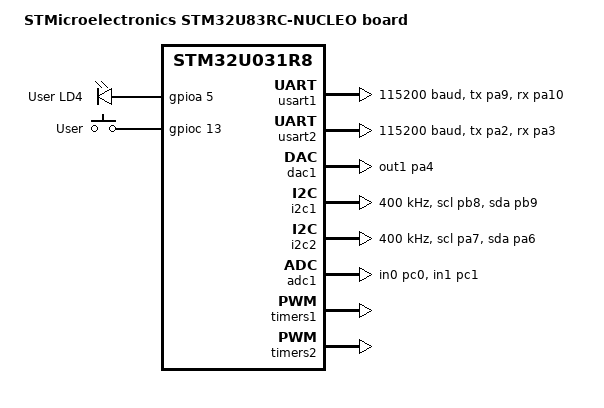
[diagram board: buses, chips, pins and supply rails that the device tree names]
/*
 * Copyright (c) 2024 STMicroelectronics
 *
 * SPDX-License-Identifier: Apache-2.0
 */

/dts-v1/;
#include <st/u0/stm32u031X8.dtsi>
#include <st/u0/stm32u031r8tx-pinctrl.dtsi>
#include "arduino_r3_connector.dtsi"
#include <zephyr/dt-bindings/input/input-event-codes.h>

/ {
	model = "STMicroelectronics STM32U83RC-NUCLEO board";
	compatible = "st,stm32u031r8-nucleo";

	#address-cells = <1>;
	#size-cells = <1>;

	chosen {
		zephyr,console = &usart2;
		zephyr,shell-uart = &usart2;
		zephyr,sram = &sram0;
		zephyr,flash = &flash0;
	};

	leds: leds {
		compatible = "gpio-leds";
		green_led_1: led_1 {
			gpios = <&gpioa 5 GPIO_ACTIVE_HIGH>;
			label = "User LD4";
		};
	};

	gpio_keys {
		compatible = "gpio-keys";
		user_button: button {
			label = "User";
			gpios = <&gpioc 13 GPIO_ACTIVE_HIGH>;
			zephyr,code = <INPUT_KEY_0>;
		};
	};

	aliases {
		led0 = &green_led_1;
		sw0 = &user_button;
	};
};

&usart1 {
	pinctrl-0 = <&usart1_tx_pa9 &usart1_rx_pa10>;
	pinctrl-names = "default";
	current-speed = <115200>;
	status = "okay";
};

&usart2 {
	pinctrl-0 = <&usart2_tx_pa2 &usart2_rx_pa3>;
	pinctrl-names = "default";
	current-speed = <115200>;
	status = "okay";
};

&clk_hsi {
	status = "okay";
};

&pll {
	div-m = <1>;
	mul-n = <6>;
	div-p = <2>;
	div-q = <2>;
	div-r = <2>;
	clocks = <&clk_hsi>;
	status = "okay";
};

&rcc {
	clocks = <&pll>;
	clock-frequency = <DT_FREQ_M(48)>;
	ahb-prescaler = <1>;
	apb1-prescaler = <1>;
};

&dac1 {
	status = "okay";
	pinctrl-0 = <&dac1_out1_pa4>;
	pinctrl-names = "default";
};

&i2c1 {
	pinctrl-0 = <&i2c1_scl_pb8 &i2c1_sda_pb9>;
	pinctrl-names = "default";
	status = "okay";
	clock-frequency = <I2C_BITRATE_FAST>;
};

&i2c2 {
	pinctrl-0 = <&i2c2_scl_pa7 &i2c2_sda_pa6>;
	pinctrl-names = "default";
	status = "okay";
	clock-frequency = <I2C_BITRATE_FAST>;
};

&adc1 {
	pinctrl-0 = <&adc1_in0_pc0 &adc1_in1_pc1>;
	pinctrl-names = "default";
	st,adc-clock-source = <SYNC>;
	st,adc-prescaler = <4>;
	status = "okay";
	vref-mv = <3300>;
};

&timers1 {
	st,prescaler = <10000>;
	status = "okay";

	pwm1: pwm {
		status = "okay";
		pinctrl-0 = <&tim1_ch1_pa8>;
		pinctrl-names = "default";
	};
};

&timers2 {
	st,prescaler = <10000>;
	status = "okay";

	pwm2: pwm {
		pinctrl-0 = <&tim2_ch1_pa5>;
		pinctrl-names = "default";
		status = "okay";
	};
};
